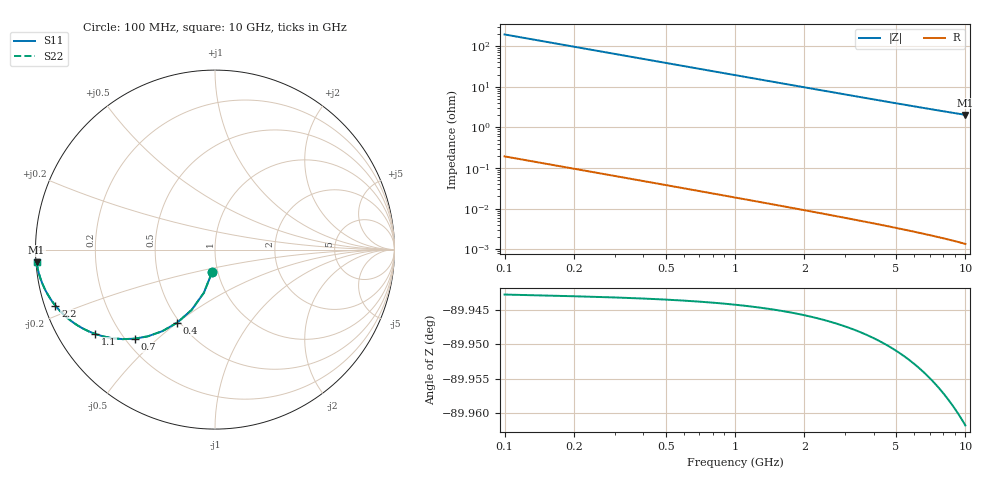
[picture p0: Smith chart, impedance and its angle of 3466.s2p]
# Hz S RI R 50.00
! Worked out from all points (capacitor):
!   100 points, 100 MHz to 10 GHz, reference 50 ohm
!   read as one part in shunt: C = 8.2 pF near 100 MHz
!   lowest |Z| = 2.04 ohm at 10 GHz (marker M1)
!   S11 on the Smith chart (normalised r, x): 100 MHz: 0.94, -0.24; 400 MHz: 0.49, -0.50; 700 MHz: 0.24, -0.42; 1.1 GHz: 0.11, -0.31; 2.2 GHz: 0.03, -0.17; 10 GHz: 0.00, -0.04
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1e8  -0.0164 -0.1266  0.9835 -0.1267  0.9835 -0.1267  -0.0164 -0.1266
2e8  -0.0624 -0.2414  0.9375 -0.2416  0.9375 -0.2416  -0.0624 -0.2414
3e8  -0.1302 -0.3359  0.8698 -0.3362  0.8698 -0.3362  -0.1302 -0.3359
4e8  -0.21 -0.4066  0.7899 -0.407  0.7899 -0.407  -0.21 -0.4066
5e8  -0.2933 -0.4546  0.7066 -0.4551  0.7066 -0.4551  -0.2933 -0.4546
6e8  -0.374 -0.4831  0.6259 -0.4837  0.6259 -0.4837  -0.374 -0.4831
7e8  -0.4484 -0.4965  0.5515 -0.4972  0.5515 -0.4972  -0.4484 -0.4965
8e8  -0.5149 -0.4989  0.485 -0.4997  0.485 -0.4997  -0.5149 -0.4989
9e8  -0.5732 -0.4937  0.4267 -0.4945  0.4267 -0.4945  -0.5732 -0.4937
1.1e9  -0.6673 -0.4701  0.3327 -0.4712  0.3327 -0.4712  -0.6673 -0.4701
1.2e9  -0.7047 -0.4551  0.2953 -0.4563  0.2953 -0.4563  -0.7047 -0.4551
1.4e9  -0.7645 -0.4231  0.2354 -0.4245  0.2354 -0.4245  -0.7645 -0.4231
1.6e9  -0.8091 -0.3917  0.1908 -0.3933  0.1908 -0.3933  -0.8091 -0.3917
1.8e9  -0.8428 -0.3625  0.1571 -0.3643  0.1571 -0.3643  -0.8428 -0.3625
2.2e9  -0.8889 -0.3126  0.111 -0.3147  0.111 -0.3147  -0.8889 -0.3126
2.7e9  -0.9234 -0.2641  0.0766 -0.2668  0.0766 -0.2668  -0.9234 -0.2641
3.4e9  -0.9502 -0.2152  0.0497 -0.2186  0.0497 -0.2186  -0.9502 -0.2152
4.2e9  -0.9668 -0.1765  0.0331 -0.1807  0.0331 -0.1807  -0.9668 -0.1765
5.1e9  -0.9772 -0.146  0.0227 -0.1511  0.0227 -0.1511  -0.9772 -0.146
6.7e9  -0.9867 -0.1105  0.0132 -0.1173  0.0132 -0.1173  -0.9867 -0.1105
8.4e9  -0.9915 -0.0866  0.00838 -0.0952  0.00838 -0.0952  -0.9915 -0.0866
1e10  -0.994 -0.071  0.00586 -0.0813  0.00586 -0.0813  -0.994 -0.071
